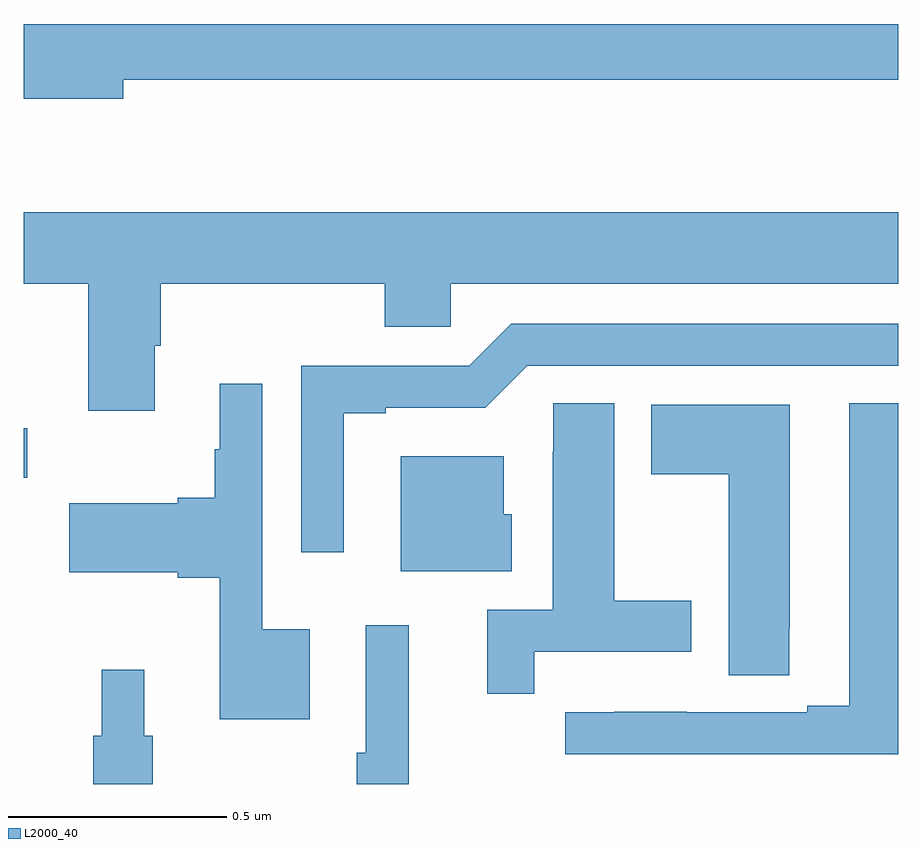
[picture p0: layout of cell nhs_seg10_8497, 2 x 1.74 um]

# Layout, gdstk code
import gdstk
lib = gdstk.Library(unit=1e-6, precision=1e-09)
def R(c, l, rs):  # rectangles x0, y0, x1, y1
    for r in rs: c.add(gdstk.rectangle(r[:2], r[2:], *l))
def P(c, l, *ps):  # polygons
    for p in ps: c.add(gdstk.Polygon(p, *l))
L2000_40 = (2000, 40)

nhs_seg10_8497 = lib.new_cell('nhs_seg10_8497')
R(nhs_seg10_8497, L2000_40, [(217,1305.2,217.008,1305.313)])
P(nhs_seg10_8497, L2000_40, [(217.228,1306.11),(219,1306.11),(219,1306.238),(217,1306.238),(217,1306.067),(217.228,1306.067)],
  [(217.3,1305.502),(217.313,1305.502),(217.313,1305.644),(217.826,1305.644),(217.826,1305.546),(217.977,1305.546),(217.977,1305.644),(219,1305.644),(219,1305.808),(217,1305.808),(217,1305.644),(217.148,1305.644),(217.148,1305.354),(217.3,1305.354)],
  [(217.732,1305.348),(217.828,1305.348),(217.828,1305.36),(218.055,1305.36),(218.151,1305.456),(219,1305.456),(219,1305.552),(218.115,1305.552),(218.019,1305.456),(217.635,1305.456),(217.635,1305.03),(217.732,1305.03)],
  [(217.654,1304.854),(217.545,1304.854),(217.545,1305.415),(217.448,1305.415),(217.448,1305.266),(217.437,1305.266),(217.437,1305.155),(217.352,1305.155),(217.352,1305.142),(217.104,1305.142),(217.104,1304.984),(217.352,1304.984),(217.352,1304.972),(217.448,1304.972),(217.448,1304.648),(217.654,1304.648)],
  [(219,1305.371),(218.888,1305.371),(218.888,1304.679),(218.792,1304.679),(218.792,1304.664),(218.516,1304.664),(218.516,1304.665),(218.35,1304.665),(218.35,1304.664),(218.238,1304.664),(218.238,1304.568),(219,1304.568)],
  [(218.168,1304.802),(218.527,1304.802),(218.527,1304.919),(218.35,1304.919),(218.35,1305.371),(218.211,1305.371),(218.211,1305.26),(218.21,1305.26),(218.21,1304.898),(218.06,1304.898),(218.06,1304.706),(218.168,1304.706)],
  [(218.751,1304.857),(218.752,1304.857),(218.752,1305.367),(218.435,1305.367),(218.435,1305.208),(218.612,1305.208),(218.612,1304.749),(218.751,1304.749)],
  [(218.116,1305.117),(218.098,1305.117),(218.098,1305.25),(217.862,1305.25),(217.862,1304.987),(218.116,1304.987)],
  [(217.88,1304.863),(217.782,1304.863),(217.782,1304.572),(217.762,1304.572),(217.762,1304.5),(217.88,1304.5)],
  [(217.295,1304.61),(217.276,1304.61),(217.276,1304.761),(217.178,1304.761),(217.178,1304.61),(217.159,1304.61),(217.159,1304.5),(217.295,1304.5)])

lib.write_gds('nhs_seg10_8497.gds')
